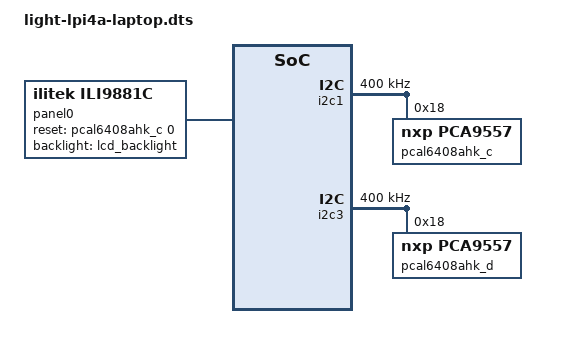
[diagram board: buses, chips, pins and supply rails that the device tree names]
#include "light-lpi4a.dts"

/ {
};

&i2c1 {
	clock-frequency = <400000>;
        status = "okay";

        pcal6408ahk_c: gpio@20 {
                compatible = "nxp,pca9557";
                reg = <0x18>;
                gpio-controller;
                #gpio-cells = <2>;
        };
};

&i2c3 {
	clock-frequency = <400000>;
	status = "okay";
	pcal6408ahk_d: gpio@20 {
		compatible = "nxp,pca9557";
		reg = <0x18>;
		gpio-controller;
		#gpio-cells = <2>;
	};
};

&lcd_backlight {
	pwms = <&pwm 0 50000>;
	brightness-levels = <0 1 2 3 4 5 6 7 8 9 10 11 12 13 14 15 16 17 18 19 20 21 22 23 24 25 26 27 28 29 30 31 32 33 34 35
	36 37 38 39 40 41 42 43 44 45 46 47 48 49 50 51 52 53 54 55 56 57 58 59 60 61 62 63 64 65 66 67 68 69 70 71 72 73 74 75
	76 77 78 79 80 81 82 83 84 85 86 87 88 89 90 91 92 93 94 95 96 97 98 99 100>;
	default-brightness-level = <2>;
};

&panel0 {
	compatible = "ilitek,ili9881c";
	status = "okay";
	backlight = <&lcd_backlight>;
	// 5v power cycle
	// TODO: move into regulator
	reset-gpios     = <&pcal6408ahk_c 0 0>; /* active low  */
	/delete-property/ lcd-en-gpios;
	/delete-property/ lcd-bias-en-gpios;
};
